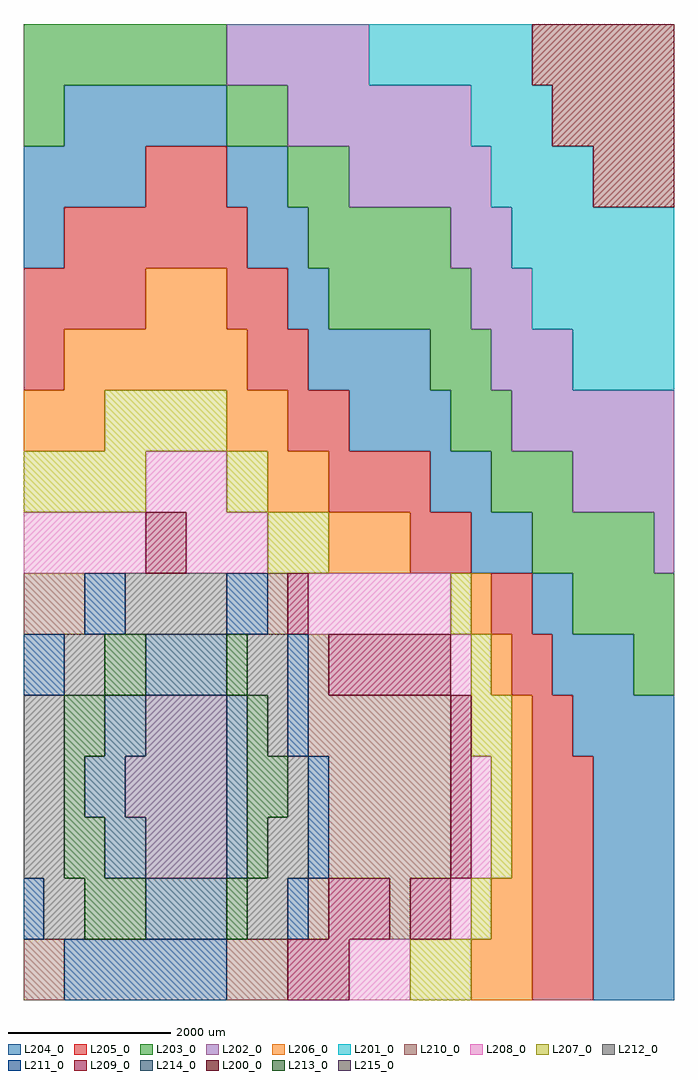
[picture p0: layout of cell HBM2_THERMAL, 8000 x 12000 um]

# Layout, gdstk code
import gdstk
lib = gdstk.Library(unit=1e-6, precision=1e-09)
def R(c, l, rs):  # rectangles x0, y0, x1, y1
    for r in rs: c.add(gdstk.rectangle(r[:2], r[2:], *l))
def A(c, l, x, y, w, h, nx, ny, dx, dy):  # array of equal rectangles
    R(c, l, [(x+i*dx, y+j*dy, x+i*dx+w, y+j*dy+h) for i in range(nx) for j in range(ny)])
L200_0 = (200, 0)
L201_0 = (201, 0)
L202_0 = (202, 0)
L203_0 = (203, 0)
L204_0 = (204, 0)
L205_0 = (205, 0)
L206_0 = (206, 0)
L207_0 = (207, 0)
L208_0 = (208, 0)
L209_0 = (209, 0)
L210_0 = (210, 0)
L211_0 = (211, 0)
L212_0 = (212, 0)
L213_0 = (213, 0)
L214_0 = (214, 0)
L215_0 = (215, 0)

hbm2_thermal = lib.new_cell('HBM2_THERMAL')
A(hbm2_thermal, L200_0, 7000, 9750, 250, 750, 4, 1, 250, 0)
A(hbm2_thermal, L200_0, 6500, 10500, 250, 750, 6, 1, 250, 0)
A(hbm2_thermal, L200_0, 6250, 11250, 250, 750, 7, 1, 250, 0)
A(hbm2_thermal, L201_0, 6750, 7500, 250, 750, 5, 1, 250, 0)
A(hbm2_thermal, L201_0, 6250, 8250, 250, 750, 7, 1, 250, 0)
A(hbm2_thermal, L201_0, 6000, 9000, 250, 750, 8, 1, 250, 0)
A(hbm2_thermal, L201_0, 5750, 9750, 250, 750, 5, 1, 250, 0)
A(hbm2_thermal, L201_0, 5500, 10500, 250, 750, 4, 1, 250, 0)
A(hbm2_thermal, L201_0, 4250, 11250, 250, 750, 8, 1, 250, 0)
A(hbm2_thermal, L202_0, 6750, 6000, 250, 750, 5, 1, 250, 0)
A(hbm2_thermal, L202_0, 6000, 6750, 250, 750, 8, 1, 250, 0)
A(hbm2_thermal, L202_0, 5750, 7500, 250, 750, 4, 1, 250, 0)
A(hbm2_thermal, L202_0, 5500, 8250, 250, 750, 3, 1, 250, 0)
A(hbm2_thermal, L202_0, 5250, 9000, 250, 750, 3, 1, 250, 0)
A(hbm2_thermal, L202_0, 4000, 9750, 250, 750, 7, 1, 250, 0)
A(hbm2_thermal, L202_0, 3250, 10500, 250, 750, 9, 1, 250, 0)
A(hbm2_thermal, L202_0, 2500, 11250, 250, 750, 7, 1, 250, 0)
R(hbm2_thermal, L202_0, [(7750,5250,8000,6000)])
A(hbm2_thermal, L203_0, 6750, 4500, 250, 750, 5, 1, 250, 0)
A(hbm2_thermal, L203_0, 6250, 5250, 250, 750, 6, 1, 250, 0)
A(hbm2_thermal, L203_0, 5750, 6000, 250, 750, 4, 1, 250, 0)
A(hbm2_thermal, L203_0, 5250, 6750, 250, 750, 3, 1, 250, 0)
A(hbm2_thermal, L203_0, 5000, 7500, 250, 750, 3, 1, 250, 0)
A(hbm2_thermal, L203_0, 3750, 8250, 250, 750, 7, 1, 250, 0)
A(hbm2_thermal, L203_0, 3500, 9000, 250, 750, 7, 1, 250, 0)
A(hbm2_thermal, L203_0, 3250, 9750, 250, 750, 3, 1, 250, 0)
A(hbm2_thermal, L203_0, 2500, 10500, 250, 750, 3, 1, 250, 0)
A(hbm2_thermal, L203_0, 0, 11250, 250, 750, 10, 1, 250, 0)
R(hbm2_thermal, L203_0, [(7500,3750,7750,4500), (7750,3750,8000,4500), (0,10500,250,11250), (250,10500,500,11250)])
A(hbm2_thermal, L204_0, 7000, 0, 250, 750, 4, 4, 250, 750)
A(hbm2_thermal, L204_0, 6750, 3000, 250, 750, 5, 1, 250, 0)
A(hbm2_thermal, L204_0, 6500, 3750, 250, 750, 4, 1, 250, 0)
A(hbm2_thermal, L204_0, 5500, 5250, 250, 750, 3, 1, 250, 0)
A(hbm2_thermal, L204_0, 5000, 6000, 250, 750, 3, 1, 250, 0)
A(hbm2_thermal, L204_0, 4000, 6750, 250, 750, 5, 1, 250, 0)
A(hbm2_thermal, L204_0, 3500, 7500, 250, 750, 6, 1, 250, 0)
A(hbm2_thermal, L204_0, 2750, 9000, 250, 750, 3, 1, 250, 0)
A(hbm2_thermal, L204_0, 0, 9750, 250, 750, 6, 1, 250, 0)
A(hbm2_thermal, L204_0, 2500, 9750, 250, 750, 3, 1, 250, 0)
A(hbm2_thermal, L204_0, 500, 10500, 250, 750, 8, 1, 250, 0)
R(hbm2_thermal, L204_0, [(6250,4500,6500,5250), (6500,4500,6750,5250), (3250,8250,3500,9000), (3500,8250,3750,9000), (0,9000,250,9750), (250,9000,500,9750)])
A(hbm2_thermal, L205_0, 6250, 0, 250, 750, 3, 4, 250, 750)
A(hbm2_thermal, L205_0, 4750, 5250, 250, 750, 3, 1, 250, 0)
A(hbm2_thermal, L205_0, 3750, 6000, 250, 750, 5, 1, 250, 0)
A(hbm2_thermal, L205_0, 3250, 6750, 250, 750, 3, 1, 250, 0)
A(hbm2_thermal, L205_0, 2750, 7500, 250, 750, 3, 1, 250, 0)
A(hbm2_thermal, L205_0, 0, 8250, 250, 750, 6, 1, 250, 0)
A(hbm2_thermal, L205_0, 2500, 8250, 250, 750, 3, 1, 250, 0)
A(hbm2_thermal, L205_0, 500, 9000, 250, 750, 9, 1, 250, 0)
A(hbm2_thermal, L205_0, 1500, 9750, 250, 750, 4, 1, 250, 0)
R(hbm2_thermal, L205_0, [(6250,3000,6500,3750), (6500,3000,6750,3750), (6000,3750,6250,4500), (6250,3750,6500,4500), (5750,4500,6000,5250), (6000,4500,6250,5250), (0,7500,250,8250), (250,7500,500,8250)])
A(hbm2_thermal, L206_0, 5500, 0, 250, 750, 3, 1, 250, 0)
A(hbm2_thermal, L206_0, 6000, 750, 250, 750, 1, 4, 0, 750)
A(hbm2_thermal, L206_0, 3750, 5250, 250, 750, 4, 1, 250, 0)
A(hbm2_thermal, L206_0, 3000, 6000, 250, 750, 3, 1, 250, 0)
A(hbm2_thermal, L206_0, 0, 6750, 250, 750, 4, 1, 250, 0)
A(hbm2_thermal, L206_0, 2500, 6750, 250, 750, 3, 1, 250, 0)
A(hbm2_thermal, L206_0, 500, 7500, 250, 750, 9, 1, 250, 0)
A(hbm2_thermal, L206_0, 1500, 8250, 250, 750, 4, 1, 250, 0)
R(hbm2_thermal, L206_0, [(5750,750,6000,1500), (5750,3750,6000,4500), (5500,4500,5750,5250)])
A(hbm2_thermal, L207_0, 4750, 0, 250, 750, 3, 1, 250, 0)
A(hbm2_thermal, L207_0, 5750, 1500, 250, 750, 1, 3, 0, 750)
A(hbm2_thermal, L207_0, 3000, 5250, 250, 750, 3, 1, 250, 0)
A(hbm2_thermal, L207_0, 0, 6000, 250, 750, 6, 1, 250, 0)
A(hbm2_thermal, L207_0, 1000, 6750, 250, 750, 6, 1, 250, 0)
R(hbm2_thermal, L207_0, [(5500,750,5750,1500), (5500,3000,5750,3750), (5500,3750,5750,4500), (5250,4500,5500,5250), (2500,6000,2750,6750), (2750,6000,3000,6750)])
A(hbm2_thermal, L208_0, 4000, 0, 250, 750, 3, 1, 250, 0)
A(hbm2_thermal, L208_0, 3500, 4500, 250, 750, 7, 1, 250, 0)
A(hbm2_thermal, L208_0, 0, 5250, 250, 750, 6, 1, 250, 0)
A(hbm2_thermal, L208_0, 2000, 5250, 250, 750, 4, 1, 250, 0)
A(hbm2_thermal, L208_0, 1500, 6000, 250, 750, 4, 1, 250, 0)
R(hbm2_thermal, L208_0, [(5250,750,5500,1500), (5500,1500,5750,2250), (5500,2250,5750,3000), (5250,3750,5500,4500)])
A(hbm2_thermal, L209_0, 3250, 0, 250, 750, 3, 1, 250, 0)
A(hbm2_thermal, L209_0, 3750, 750, 250, 750, 3, 1, 250, 0)
A(hbm2_thermal, L209_0, 5250, 1500, 250, 750, 1, 3, 0, 750)
A(hbm2_thermal, L209_0, 3750, 3750, 250, 750, 6, 1, 250, 0)
R(hbm2_thermal, L209_0, [(4750,750,5000,1500), (5000,750,5250,1500), (3250,4500,3500,5250), (1500,5250,1750,6000), (1750,5250,2000,6000)])
A(hbm2_thermal, L210_0, 2500, 0, 250, 750, 3, 1, 250, 0)
A(hbm2_thermal, L210_0, 3750, 1500, 250, 750, 6, 2, 250, 750)
A(hbm2_thermal, L210_0, 3500, 3000, 250, 750, 7, 1, 250, 0)
A(hbm2_thermal, L210_0, 0, 4500, 250, 750, 3, 1, 250, 0)
R(hbm2_thermal, L210_0, [(0,0,250,750), (250,0,500,750), (3500,750,3750,1500), (4500,750,4750,1500), (3500,3750,3750,4500), (3000,4500,3250,5250)])
A(hbm2_thermal, L211_0, 500, 0, 250, 750, 8, 1, 250, 0)
R(hbm2_thermal, L211_0, [(0,750,250,1500), (3250,750,3500,1500), (3500,1500,3750,2250), (3500,2250,3750,3000), (3250,3000,3500,3750), (0,3750,250,4500), (250,3750,500,4500), (3250,3750,3500,4500), (750,4500,1000,5250), (1000,4500,1250,5250), (2500,4500,2750,5250), (2750,4500,3000,5250)])
A(hbm2_thermal, L212_0, 250, 750, 250, 750, 1, 4, 0, 750)
A(hbm2_thermal, L212_0, 0, 1500, 250, 750, 1, 3, 0, 750)
A(hbm2_thermal, L212_0, 1250, 4500, 250, 750, 5, 1, 250, 0)
R(hbm2_thermal, L212_0, [(500,750,750,1500), (2750,750,3000,1500), (3000,750,3250,1500), (3000,1500,3250,2250), (3250,1500,3500,2250), (3250,2250,3500,3000), (3000,3000,3250,3750), (500,3750,750,4500), (750,3750,1000,4500), (2750,3750,3000,4500), (3000,3750,3250,4500)])
A(hbm2_thermal, L213_0, 750, 750, 250, 750, 3, 1, 250, 0)
A(hbm2_thermal, L213_0, 500, 1500, 250, 750, 1, 3, 0, 750)
A(hbm2_thermal, L213_0, 2750, 1500, 250, 750, 1, 3, 0, 750)
R(hbm2_thermal, L213_0, [(2500,750,2750,1500), (750,1500,1000,2250), (3000,2250,3250,3000), (750,3000,1000,3750), (1000,3750,1250,4500), (1250,3750,1500,4500), (2500,3750,2750,4500)])
A(hbm2_thermal, L214_0, 1500, 750, 250, 750, 4, 2, 250, 3000)
A(hbm2_thermal, L214_0, 1000, 1500, 250, 750, 1, 3, 0, 750)
A(hbm2_thermal, L214_0, 2500, 1500, 250, 750, 1, 3, 0, 750)
R(hbm2_thermal, L214_0, [(1250,1500,1500,2250), (750,2250,1000,3000), (1250,3000,1500,3750)])
A(hbm2_thermal, L215_0, 1500, 1500, 250, 750, 4, 2, 250, 1500)
A(hbm2_thermal, L215_0, 1250, 2250, 250, 750, 5, 1, 250, 0)

lib.write_gds('HBM2_THERMAL.gds')
